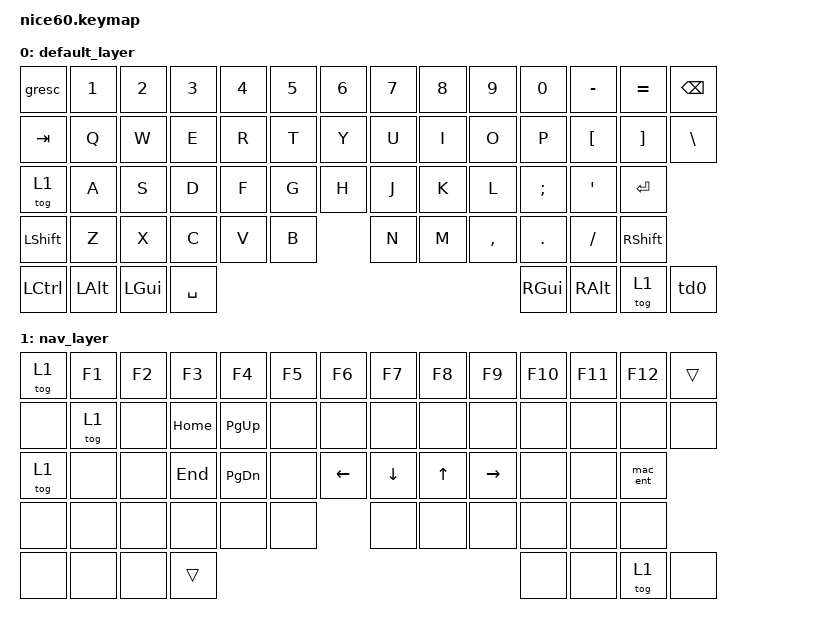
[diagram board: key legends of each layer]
/*
 * Copyright (c) 2023 Lucas Messenger
 *
 * SPDX-License-Identifier: MIT
 */

#include <behaviors.dtsi>
#include <dt-bindings/zmk/keys.h>
#include <dt-bindings/zmk/bt.h>
#include <dt-bindings/zmk/outputs.h>
#include <dt-bindings/zmk/reset.h>
#include <dt-bindings/zmk/ext_power.h>

/ {
    macros {
        mac_ent: mac_ent{
            label = "macro_enter_tog";
            compatible = "zmk,behavior-macro";
            #binding-cells = <0>;
            bindings = <&macro_tap &kp RET>, <&macro_tap &tog 1>;
        };

        mac_lock: mac_lock{
            label = "macro_mac_lock";
            compatible = "zmk,behavior-macro";
            wait-ms = <0>;
            #binding-cells = <0>;
            bindings = <&macro_press &kp LCTL &kp LGUI &kp Q>
                     , <&macro_pause_for_release>
                     , <&macro_release &kp LCTL &kp LGUI &kp Q>
                     ;
        };
    };

    behaviors {
        gresc: grave_escape {
            keep-mods = <(MOD_LSFT|MOD_RSFT)>;
        };
    };

    td0: tap_dance_0 {
            compatible = "zmk,behavior-tap-dance";
            label = "TAP_DANCE_0";
            tapping-term-ms = <200>;
            #binding-cells = <0>;
            bindings = <&kp RCTRL>, <&mac_lock>;
        };

    keymap {
        compatible = "zmk,keymap";

        default_layer {
// ------------------------------------------------------------------------------------------
// | ESC |  1  |  2  |  3  |  4  |  5  |  6  |  7  |  8  |  9  |  0  |  -  |  =  |   BKSP   |
// | TAB  |  Q  |  W  |  E  |  R  |  T  |  Y  |  U  |  I  |  O  |  P  |  [  |  ]  |   "|"   |
// | TOG(1) |  A  |  S  |  D  |  F  |  G  |  H  |  J  |  K  |  L  |  ;  |  '  |     ENTER   |
// |  SHIFT  |  Z  |  X  |  C  |  V  |  B  |  N  |  M  |  ,  |  .  |  /  |      SHIFT       |
// |  CTL  |  ALT  |  WIN |            SPACE              |  WIN  |  ALT  |  TOG(1) |  CTL  |
// ------------------------------------------------------------------------------------------
            bindings = <
    &gresc  &kp N1 &kp N2 &kp N3 &kp N4 &kp N5 &kp N6 &kp N7 &kp N8 &kp N9 &kp N0 &kp MINUS &kp EQUAL  &kp BSPC
    &kp TAB  &kp Q  &kp W  &kp E  &kp R  &kp T  &kp Y  &kp U  &kp I  &kp O  &kp P  &kp LBKT  &kp RBKT  &kp BSLH
    &tog 1  &kp A  &kp S  &kp D  &kp F  &kp G  &kp H  &kp J  &kp K  &kp L  &kp SEMI &kp SQT           &kp RET
    &kp LSHFT   &kp Z  &kp X  &kp C  &kp V  &kp B  &kp N  &kp M  &kp COMMA &kp DOT &kp FSLH           &kp RSHFT
    &kp LCTRL &kp LALT &kp LGUI             &kp SPACE                     &kp RGUI  &kp RALT  &tog 1   &td0
            >;
        };

    nav_layer {
            bindings = <
    &tog 1  &kp F1  &kp F2 &kp F3   &kp F4    &kp F5 &kp F6   &kp F7   &kp F8   &kp F9    &kp F10  &kp F11 &kp F12   &trans
    &none   &tog 1  &none  &kp HOME &kp PG_UP &none  &none    &none    &none    &none     &none     &none   &none    &none
    &tog 1  &none   &none  &kp END  &kp PG_DN &none  &kp LEFT &kp DOWN &kp UP   &kp RIGHT &none     &none       &mac_ent
    &none           &none  &none    &none     &none  &none    &none    &none    &none     &none     &none   &none
    &none   &none   &none                        &trans                                   &none     &none     &tog 1 &none
            >;
        };

    };
};
